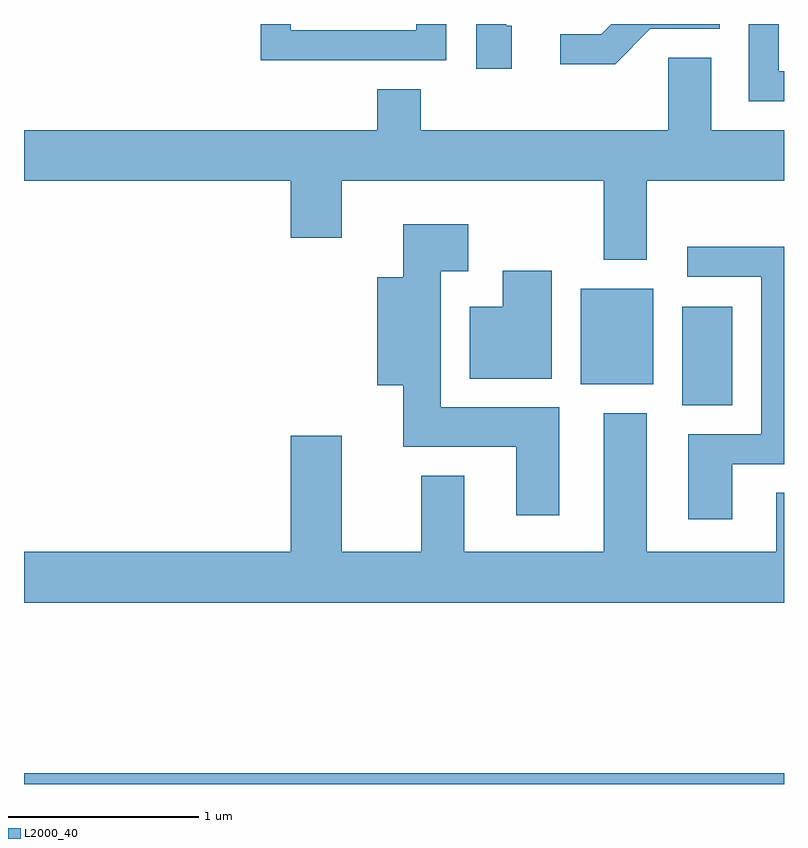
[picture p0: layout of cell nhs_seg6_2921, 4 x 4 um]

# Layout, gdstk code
import gdstk
lib = gdstk.Library(unit=1e-6, precision=1e-09)
def R(c, l, rs):  # rectangles x0, y0, x1, y1
    for r in rs: c.add(gdstk.rectangle(r[:2], r[2:], *l))
def P(c, l, *ps):  # polygons
    for p in ps: c.add(gdstk.Polygon(p, *l))
L2000_40 = (2000, 40)

nhs_seg6_2921 = lib.new_cell('nhs_seg6_2921')
R(nhs_seg6_2921, L2000_40, [(273.611,1580.162,277.611,1580.219), (277.076,1582.156,277.339,1582.674), (276.541,1582.266,276.924,1582.769)])
P(nhs_seg6_2921, L2000_40, [(275.834,1584.162),(275.676,1584.162),(275.676,1584.129),(275.014,1584.129),(275.014,1584.162),(274.856,1584.162),(274.856,1583.971),(275.834,1583.971)],
  [(276.907,1584.136),(277.274,1584.136),(277.274,1584.162),(276.702,1584.162),(276.649,1584.109),(276.433,1584.109),(276.433,1583.951),(276.722,1583.951)],
  [(277.611,1583.914),(277.584,1583.914),(277.584,1584.162),(277.426,1584.162),(277.426,1583.756),(277.611,1583.756)],
  [(276.179,1584.154),(276.149,1584.154),(276.149,1584.162),(275.991,1584.162),(275.991,1583.926),(276.179,1583.926)],
  [(276.889,1583.336),(277.611,1583.336),(277.611,1583.604),(277.229,1583.604),(277.229,1583.984),(277.001,1583.984),(277.001,1583.604),(275.699,1583.604),(275.699,1583.819),(275.471,1583.819),(275.471,1583.604),(273.611,1583.604),(273.611,1583.336),(275.016,1583.336),(275.016,1583.036),(275.284,1583.036),(275.284,1583.336),(276.661,1583.336),(276.661,1582.921),(276.889,1582.921)],
  [(276.429,1582.144),(275.804,1582.144),(275.804,1582.861),(275.949,1582.861),(275.949,1583.109),(275.606,1583.109),(275.606,1582.829),(275.471,1582.829),(275.471,1582.261),(275.606,1582.261),(275.606,1581.936),(276.201,1581.936),(276.201,1581.576),(276.429,1581.576)],
  [(277.339,1581.846),(277.611,1581.846),(277.611,1582.989),(277.103,1582.989),(277.103,1582.831),(277.491,1582.831),(277.491,1582.004),(277.106,1582.004),(277.106,1581.556),(277.339,1581.556)],
  [(276.389,1582.864),(276.131,1582.864),(276.131,1582.674),(275.956,1582.674),(275.956,1582.296),(276.389,1582.296)],
  [(275.701,1581.784),(275.701,1581.384),(275.284,1581.384),(275.284,1581.994),(275.016,1581.994),(275.016,1581.384),(273.611,1581.384),(273.611,1581.116),(277.611,1581.116),(277.611,1581.694),(277.571,1581.694),(277.571,1581.384),(276.889,1581.384),(276.889,1582.114),(276.661,1582.114),(276.661,1581.384),(275.929,1581.384),(275.929,1581.784)])

lib.write_gds('nhs_seg6_2921.gds')
